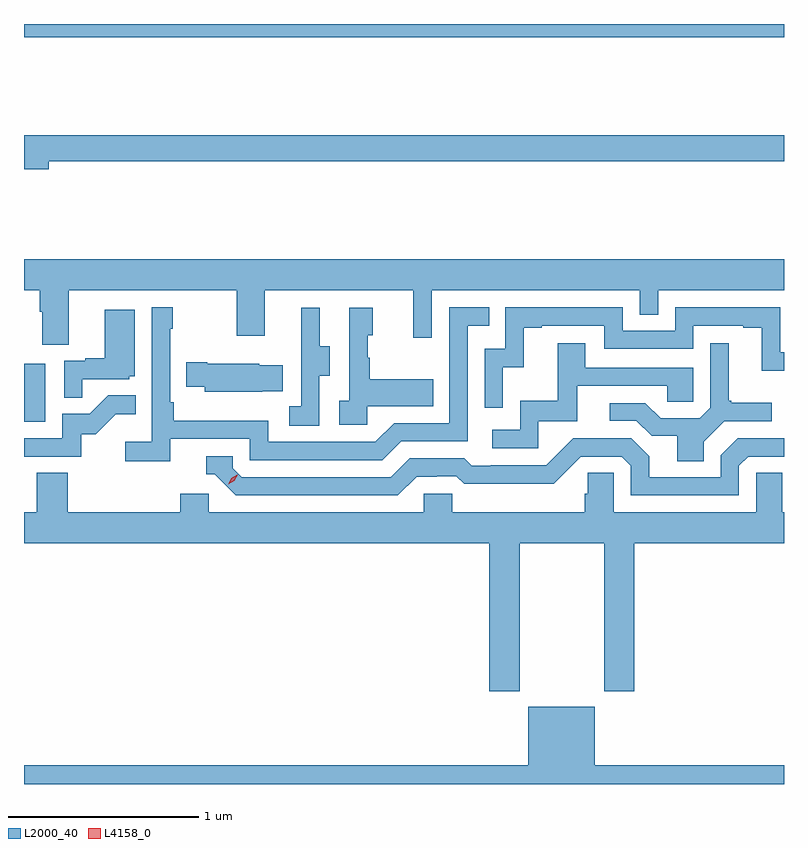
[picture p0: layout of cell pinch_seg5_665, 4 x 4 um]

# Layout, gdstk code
import gdstk
lib = gdstk.Library(unit=1e-6, precision=1e-09)
def R(c, l, rs):  # rectangles x0, y0, x1, y1
    for r in rs: c.add(gdstk.rectangle(r[:2], r[2:], *l))
def P(c, l, *ps):  # polygons
    for p in ps: c.add(gdstk.Polygon(p, *l))
L2000_40 = (2000, 40)
L4158_0 = (4158, 0)

pinch_seg5_665 = lib.new_cell('pinch_seg5_665')
R(pinch_seg5_665, L2000_40, [(1053.371,837.42,1053.484,837.727), (1053.371,839.444,1057.371,839.514)])
P(pinch_seg5_665, L2000_40, [(1053.502,838.792),(1057.371,838.792),(1057.371,838.928),(1053.371,838.928),(1053.371,838.75),(1053.502,838.75)],
  [(1053.607,838.112),(1054.492,838.112),(1054.492,837.873),(1054.639,837.873),(1054.639,838.112),(1055.42,838.112),(1055.42,837.864),(1055.517,837.864),(1055.517,838.112),(1056.612,838.112),(1056.612,837.985),(1056.708,837.985),(1056.708,838.112),(1057.371,838.112),(1057.371,838.276),(1053.371,838.276),(1053.371,838.112),(1053.455,838.112),(1053.455,838),(1053.467,838),(1053.467,837.826),(1053.607,837.826)],
  [(1054.142,837.33),(1054.56,837.33),(1054.56,837.219),(1055.257,837.219),(1055.356,837.318),(1055.706,837.318),(1055.706,837.927),(1055.819,837.927),(1055.819,838.023),(1055.61,838.023),(1055.61,837.414),(1055.319,837.414),(1055.22,837.315),(1054.656,837.315),(1054.656,837.427),(1054.16,837.427),(1054.16,837.523),(1054.14,837.523),(1054.14,837.911),(1054.153,837.911),(1054.153,838.024),(1054.044,838.024),(1054.044,837.316),(1053.903,837.316),(1053.903,837.214),(1054.142,837.214)],
  [(1055.892,837.707),(1056.002,837.707),(1056.002,837.915),(1056.097,837.915),(1056.097,837.927),(1056.426,837.927),(1056.426,837.804),(1056.894,837.804),(1056.894,837.927),(1057.157,837.927),(1057.157,837.915),(1057.253,837.915),(1057.253,837.689),(1057.371,837.689),(1057.371,837.787),(1057.35,837.787),(1057.35,838.023),(1056.798,838.023),(1056.798,837.9),(1056.522,837.9),(1056.522,838.023),(1055.904,838.023),(1055.904,837.804),(1055.796,837.804),(1055.796,837.495),(1055.892,837.495)],
  [(1054.926,837.664),(1054.981,837.664),(1054.981,837.819),(1054.927,837.819),(1054.927,838.021),(1054.829,838.021),(1054.829,837.807),(1054.83,837.807),(1054.83,837.503),(1054.767,837.503),(1054.767,837.4),(1054.926,837.4)],
  [(1055.178,837.503),(1055.525,837.503),(1055.525,837.643),(1055.191,837.643),(1055.191,837.758),(1055.181,837.758),(1055.181,837.876),(1055.206,837.876),(1055.206,838.021),(1055.082,838.021),(1055.082,837.53),(1055.031,837.53),(1055.031,837.405),(1055.178,837.405)],
  [(1053.677,837.645),(1053.924,837.645),(1053.924,837.66),(1053.955,837.66),(1053.955,838.009),(1053.797,838.009),(1053.797,837.754),(1053.693,837.754),(1053.693,837.741),(1053.582,837.741),(1053.582,837.547),(1053.677,837.547)],
  [(1056.949,837.316),(1057.056,837.423),(1057.306,837.423),(1057.306,837.52),(1057.093,837.52),(1057.093,837.532),(1057.081,837.532),(1057.081,837.835),(1056.984,837.835),(1056.984,837.495),(1056.927,837.438),(1056.721,837.438),(1056.64,837.519),(1056.453,837.519),(1056.453,837.426),(1056.594,837.426),(1056.674,837.346),(1056.809,837.346),(1056.809,837.214),(1056.949,837.214)],
  [(1056.078,837.423),(1056.283,837.423),(1056.283,837.609),(1056.757,837.609),(1056.757,837.525),(1056.894,837.525),(1056.894,837.705),(1056.325,837.705),(1056.325,837.835),(1056.181,837.835),(1056.181,837.532),(1055.982,837.532),(1055.982,837.378),(1055.835,837.378),(1055.835,837.282),(1056.078,837.282)],
  [(1054.625,837.581),(1054.733,837.581),(1054.733,837.718),(1054.608,837.718),(1054.608,837.727),(1054.336,837.727),(1054.336,837.735),(1054.225,837.735),(1054.225,837.605),(1054.323,837.605),(1054.323,837.578),(1054.625,837.578)],
  [(1053.672,837.354),(1053.748,837.354),(1053.855,837.461),(1053.959,837.461),(1053.959,837.56),(1053.815,837.56),(1053.717,837.462),(1053.573,837.462),(1053.573,837.333),(1053.371,837.333),(1053.371,837.237),(1053.672,837.237)],
  [(1055.437,837.132),(1055.544,837.132),(1055.544,837.135),(1055.647,837.135),(1055.689,837.093),(1055.922,837.093),(1055.922,837.095),(1056.158,837.095),(1056.3,837.237),(1056.516,837.237),(1056.564,837.189),(1056.564,837.033),(1057.134,837.033),(1057.134,837.189),(1057.182,837.237),(1057.371,837.237),(1057.371,837.335),(1057.344,837.335),(1057.344,837.333),(1057.128,837.333),(1057.038,837.243),(1057.038,837.129),(1056.661,837.129),(1056.661,837.239),(1056.567,837.333),(1056.261,837.333),(1056.12,837.192),(1055.827,837.192),(1055.827,837.189),(1055.728,837.189),(1055.689,837.228),(1055.4,837.228),(1055.301,837.129),(1054.518,837.129),(1054.47,837.177),(1054.47,837.24),(1054.331,837.24),(1054.331,837.144),(1054.374,837.144),(1054.485,837.033),(1055.338,837.033)],
  [(1055.979,836.78),(1056.424,836.78),(1056.424,836.001),(1056.584,836.001),(1056.584,836.78),(1057.371,836.78),(1057.371,836.944),(1057.363,836.944),(1057.363,837.152),(1057.224,837.152),(1057.224,836.944),(1056.474,836.944),(1056.474,837.152),(1056.337,837.152),(1056.337,837.042),(1056.323,837.042),(1056.323,836.944),(1055.625,836.944),(1055.625,837.042),(1055.475,837.042),(1055.475,836.944),(1054.344,836.944),(1054.344,837.042),(1054.193,837.042),(1054.193,836.944),(1053.602,836.944),(1053.602,837.152),(1053.437,837.152),(1053.437,836.944),(1053.371,836.944),(1053.371,836.78),(1055.819,836.78),(1055.819,836.001),(1055.979,836.001)],
  [(1057.371,835.612),(1056.376,835.612),(1056.376,835.921),(1056.026,835.921),(1056.026,835.612),(1053.371,835.612),(1053.371,835.514),(1057.371,835.514)])
P(pinch_seg5_665, L4158_0, [(1054.447,837.091),(1054.447,837.091),(1054.463,837.123),(1054.494,837.142),(1054.495,837.142),(1054.495,837.142),(1054.478,837.11),(1054.447,837.091)])

lib.write_gds('pinch_seg5_665.gds')
